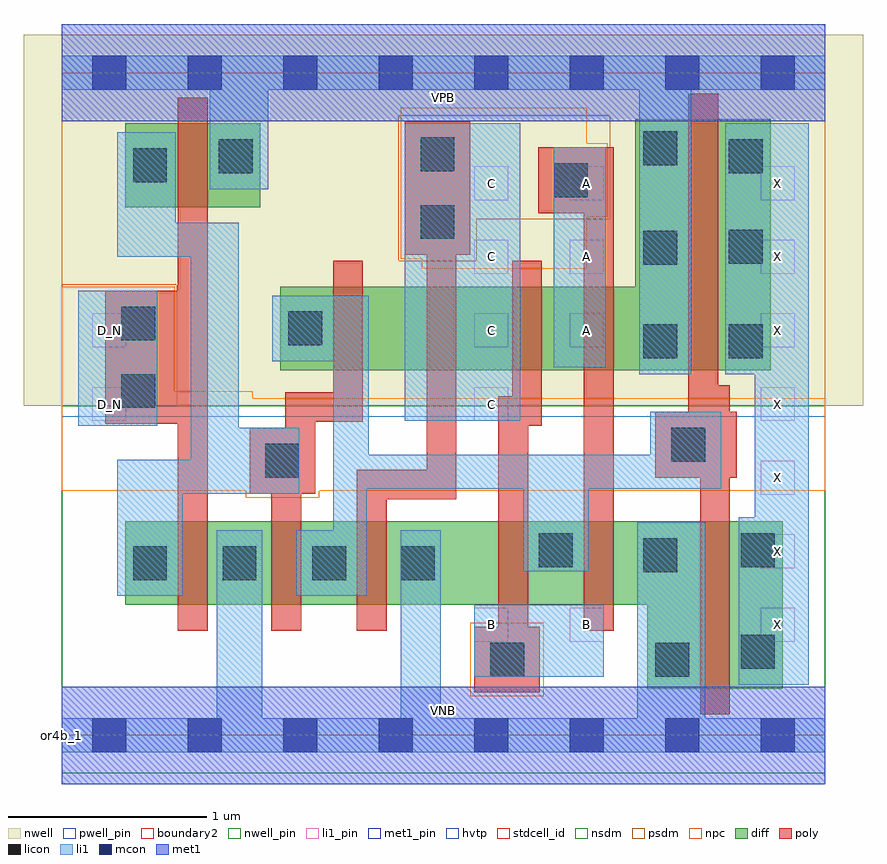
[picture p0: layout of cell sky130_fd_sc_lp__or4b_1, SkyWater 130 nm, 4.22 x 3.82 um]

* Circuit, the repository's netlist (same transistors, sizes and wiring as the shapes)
* Copyright 2020 The SkyWater PDK Authors
*
* Licensed under the Apache License, Version 2.0 (the "License");
* you may not use this file except in compliance with the License.
* You may obtain a copy of the License at
*
*     https://www.apache.org/licenses/LICENSE-2.0
*
* Unless required by applicable law or agreed to in writing, software
* distributed under the License is distributed on an "AS IS" BASIS,
* WITHOUT WARRANTIES OR CONDITIONS OF ANY KIND, either express or implied.
* See the License for the specific language governing permissions and
* limitations under the License.
*
* SPDX-License-Identifier: Apache-2.0

.SUBCKT sky130_fd_sc_lp__or4b_1 A B C D_N VGND VNB VPB VPWR X
*.PININFO A:I B:I C:I D_N:I VGND:I VNB:I VPB:I VPWR:I X:O
MMP0 VPWR A sndPA VPB sky130_fd_pr__pfet_01v8_hvt m=1 w=0.42U l=0.15U mult=1 sa=0.265
+ sb=0.265 sd=0.28 area=0.063 perim=1.14
MMP1 sndPA B sndPB VPB sky130_fd_pr__pfet_01v8_hvt m=1 w=0.42U l=0.15U mult=1 sa=0.265
+ sb=0.265 sd=0.28 area=0.063 perim=1.14
MMP2 sndPB C sndPC VPB sky130_fd_pr__pfet_01v8_hvt m=1 w=0.42U l=0.15U mult=1 sa=0.265
+ sb=0.265 sd=0.28 area=0.063 perim=1.14
MMP3 sndPC D y VPB sky130_fd_pr__pfet_01v8_hvt m=1 w=0.42U l=0.15U mult=1 sa=0.265
+ sb=0.265 sd=0.28 area=0.063 perim=1.14
MMIP3 D D_N VPWR VPB sky130_fd_pr__pfet_01v8_hvt m=1 w=0.42U l=0.15U mult=1 sa=0.265
+ sb=0.265 sd=0.28 area=0.063 perim=1.14
MMIP4 X y VPWR VPB sky130_fd_pr__pfet_01v8_hvt m=1 w=1.26U l=0.15U mult=1 sa=0.265
+ sb=0.265 sd=0.28 area=0.063 perim=1.14
MMN0 y A VGND VNB sky130_fd_pr__nfet_01v8 m=1 w=0.42U l=0.15U mult=1 sa=0.265 sb=0.265
+ sd=0.28 area=0.063 perim=1.14
MMN1 y B VGND VNB sky130_fd_pr__nfet_01v8 m=1 w=0.42U l=0.15U mult=1 sa=0.265 sb=0.265
+ sd=0.28 area=0.063 perim=1.14
MMN2 y C VGND VNB sky130_fd_pr__nfet_01v8 m=1 w=0.42U l=0.15U mult=1 sa=0.265 sb=0.265
+ sd=0.28 area=0.063 perim=1.14
MMN3 y D VGND VNB sky130_fd_pr__nfet_01v8 m=1 w=0.42U l=0.15U mult=1 sa=0.265 sb=0.265
+ sd=0.28 area=0.063 perim=1.14
MMIN3 D D_N VGND VNB sky130_fd_pr__nfet_01v8 m=1 w=0.42U l=0.15U mult=1 sa=0.265
+ sb=0.265 sd=0.28 area=0.063 perim=1.14
MMIN4 X y VGND VNB sky130_fd_pr__nfet_01v8 m=1 w=0.84U l=0.15U mult=1 sa=0.265
+ sb=0.265 sd=0.28 area=0.063 perim=1.14
.ENDS sky130_fd_sc_lp__or4b_1

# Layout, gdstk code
import gdstk
lib = gdstk.Library(unit=1e-6, precision=1e-09)
def R(c, l, rs):  # rectangles x0, y0, x1, y1
    for r in rs: c.add(gdstk.rectangle(r[:2], r[2:], *l))
def A(c, l, x, y, w, h, nx, ny, dx, dy):  # array of equal rectangles
    R(c, l, [(x+i*dx, y+j*dy, x+i*dx+w, y+j*dy+h) for i in range(nx) for j in range(ny)])
def P(c, l, *ps):  # polygons
    for p in ps: c.add(gdstk.Polygon(p, *l))
nwell_pin = (64, 16)
nwell = (64, 20)
diff = (65, 20)
poly = (66, 20)
licon = (66, 44)
li1_pin = (67, 16)
li1 = (67, 20)
mcon = (67, 44)
met1_pin = (68, 16)
met1 = (68, 20)
hvtp = (78, 44)
stdcell_id = (81, 4)
nsdm = (93, 44)
psdm = (94, 20)
npc = (95, 20)
pwell_pin = (122, 16)
boundary2 = (236, 0)

sky130_fd_sc_lp__or4b_1 = lib.new_cell('sky130_fd_sc_lp__or4b_1')
R(sky130_fd_sc_lp__or4b_1, nwell_pin, [(0,3.085,3.84,3.33)])
R(sky130_fd_sc_lp__or4b_1, nwell, [(-0.19,1.655,4.03,3.52)])
R(sky130_fd_sc_lp__or4b_1, diff, [(0.32,2.655,1,3.075)])
P(sky130_fd_sc_lp__or4b_1, diff, [(3.625,1.075),(0.32,1.075),(0.32,0.655),(2.945,0.655),(2.945,0.235),(3.625,0.235)],
  [(3.565,3.095),(2.885,3.095),(2.885,2.255),(1.1,2.255),(1.1,1.835),(3.565,1.835)])
P(sky130_fd_sc_lp__or4b_1, poly, [(0.735,3.205),(0.585,3.205),(0.585,2.235),(0.22,2.235),(0.22,1.565),(0.585,1.565),(0.585,0.525),(0.735,0.525)],
  [(2.055,3.085),(1.725,3.085),(1.725,2.415),(1.835,2.415),(1.835,1.335),(1.485,1.335),(1.485,0.525),(1.635,0.525),(1.635,1.185),(1.985,1.185),(1.985,2.415),(2.055,2.415)],
  [(1.515,2.385),(1.365,2.385),(1.365,1.725),(1.125,1.725),(1.125,1.545),(0.945,1.545),(0.945,1.215),(1.055,1.215),(1.055,0.525),(1.205,0.525),(1.205,1.215),(1.275,1.215),(1.275,1.575),(1.515,1.575)],
  [(3.395,1.625),(3.36,1.625),(3.36,1.76),(3.3,1.76),(3.3,3.225),(3.15,3.225),(3.15,1.625),(2.985,1.625),(2.985,1.295),(3.21,1.295),(3.21,0.105),(3.36,0.105),(3.36,1.295),(3.395,1.295)],
  [(2.775,2.955),(2.395,2.955),(2.395,2.625),(2.625,2.625),(2.625,0.525),(2.775,0.525)],
  [(2.415,2.385),(2.265,2.385),(2.265,1.705),(2.195,1.705),(2.195,0.545),(2.075,0.545),(2.075,0.215),(2.405,0.215),(2.405,0.545),(2.345,0.545),(2.345,1.555),(2.415,1.555)])
A(sky130_fd_sc_lp__or4b_1, licon, 0.36, 0.78, 0.17, 0.17, 3, 1, 0.45, 0)
R(sky130_fd_sc_lp__or4b_1, licon, [(2.155,0.295,2.325,0.465), (2.985,0.295,3.155,0.465), (3.415,0.335,3.585,0.505), (1.705,0.78,1.875,0.95), (2.925,0.82,3.095,0.99), (2.4,0.845,2.57,1.015), (3.415,0.845,3.585,1.015), (1.025,1.295,1.195,1.465), (3.065,1.375,3.235,1.545), (0.3,1.645,0.47,1.815), (2.925,1.895,3.095,2.065), (3.355,1.895,3.525,2.065), (1.14,1.96,1.31,2.13), (0.3,1.985,0.47,2.155), (2.925,2.365,3.095,2.535), (3.355,2.37,3.525,2.54), (1.805,2.495,1.975,2.665), (2.475,2.705,2.645,2.875), (0.36,2.78,0.53,2.95), (0.79,2.825,0.96,2.995), (3.355,2.825,3.525,2.995), (1.805,2.835,1.975,3.005), (2.925,2.865,3.095,3.035)])
A(sky130_fd_sc_lp__or4b_1, li1_pin, 3.515, 0.47, 0.17, 0.17, 1, 7, 0, 0.37)
A(sky130_fd_sc_lp__or4b_1, li1_pin, 2.075, 1.58, 0.17, 0.17, 1, 4, 0, 0.37)
A(sky130_fd_sc_lp__or4b_1, li1_pin, 2.555, 1.95, 0.17, 0.17, 1, 3, 0, 0.37)
R(sky130_fd_sc_lp__or4b_1, li1_pin, [(2.075,0.47,2.245,0.64), (2.555,0.47,2.725,0.64), (0.155,1.58,0.325,1.75), (0.155,1.95,0.325,2.12)])
R(sky130_fd_sc_lp__or4b_1, li1, [(2.075,0.295,2.725,0.655), (0.085,1.555,0.48,2.235), (1.725,1.58,2.305,3.075), (2.475,1.85,2.735,2.955)])
P(sky130_fd_sc_lp__or4b_1, li1, [(3.84,3.415),(0,3.415),(0,3.245),(0.745,3.245),(0.745,2.745),(1.04,2.745),(1.04,3.245),(2.905,3.245),(2.905,1.815),(3.165,1.815),(3.165,3.245),(3.84,3.245)],
  [(3.84,0.085),(3.235,0.085),(3.235,1.07),(2.895,1.07),(2.895,0.085),(1.905,0.085),(1.905,1.03),(1.705,1.03),(1.705,0.085),(1.01,0.085),(1.01,1.03),(0.78,1.03),(0.78,0.085),(0,0.085),(0,-0.085),(3.84,-0.085)],
  [(3.755,3.075),(3.335,3.075),(3.335,1.815),(3.485,1.815),(3.485,1.095),(3.405,1.095),(3.405,0.255),(3.755,0.255)],
  [(3.315,1.625),(2.96,1.625),(2.96,1.41),(1.545,1.41),(1.545,2.21),(1.06,2.21),(1.06,1.88),(1.365,1.88),(1.365,1.03),(1.18,1.03),(1.18,0.7),(1.535,0.7),(1.535,1.24),(2.32,1.24),(2.32,0.825),(2.65,0.825),(2.65,1.24),(3.315,1.24)],
  [(1.195,1.545),(0.89,1.545),(0.89,2.575),(0.575,2.575),(0.575,3.03),(0.28,3.03),(0.28,2.405),(0.65,2.405),(0.65,1.385),(0.28,1.385),(0.28,0.7),(0.61,0.7),(0.61,1.215),(1.195,1.215)])
A(sky130_fd_sc_lp__or4b_1, mcon, 0.155, -0.085, 0.17, 0.17, 8, 2, 0.48, 3.33)
R(sky130_fd_sc_lp__or4b_1, met1_pin, [(0,0,3.84,0.245), (0,3.085,3.84,3.33)])
R(sky130_fd_sc_lp__or4b_1, met1, [(0,-0.245,3.84,0.245), (0,3.085,3.84,3.575)])
R(sky130_fd_sc_lp__or4b_1, hvtp, [(0,1.6,3.84,3.33)])
R(sky130_fd_sc_lp__or4b_1, stdcell_id, [(0,0,3.84,3.33)])
R(sky130_fd_sc_lp__or4b_1, nsdm, [(0,-0.19,3.84,1.655)])
P(sky130_fd_sc_lp__or4b_1, psdm, [(3.84,3.52),(2.755,3.52),(2.755,2.595),(2.085,2.595),(2.085,2.385),(1.695,2.385),(1.695,3.115),(2.755,3.115),(2.755,3.52),(0,3.52),(0,2.265),(0.58,2.265),(0.58,1.655),(3.84,1.655)])
R(sky130_fd_sc_lp__or4b_1, npc, [(2.055,0.195,2.425,0.565)])
P(sky130_fd_sc_lp__or4b_1, npc, [(2.745,2.975),(2.64,2.975),(2.64,3.155),(1.705,3.155),(1.705,2.395),(1.81,2.395),(1.81,2.345),(2.64,2.345),(2.64,2.605),(2.745,2.605)],
  [(3.84,1.695),(0.96,1.695),(0.96,1.73),(0.57,1.73),(0.57,2.255),(0,2.255),(0,1.23),(0.925,1.23),(0.925,1.195),(1.295,1.195),(1.295,1.23),(3.84,1.23)])
R(sky130_fd_sc_lp__or4b_1, pwell_pin, [(0,0,3.84,0.245)])
R(sky130_fd_sc_lp__or4b_1, boundary2, [(0,0,3.84,3.33)])
sky130_fd_sc_lp__or4b_1.add(gdstk.Label('VNB', (1.92,0.123), layer=64, texttype=59))
sky130_fd_sc_lp__or4b_1.add(gdstk.Label('VPB', (1.92,3.208), layer=64, texttype=5))
sky130_fd_sc_lp__or4b_1.add(gdstk.Label('or4b_1', (0,0), layer=83, texttype=44))
sky130_fd_sc_lp__or4b_1.add(gdstk.Label('VPWR', (1.92,3.208), layer=68, texttype=5))
sky130_fd_sc_lp__or4b_1.add(gdstk.Label('VGND', (1.92,0.123), layer=68, texttype=5))
sky130_fd_sc_lp__or4b_1.add(gdstk.Label('C', (2.16,1.665), layer=67, texttype=5))
sky130_fd_sc_lp__or4b_1.add(gdstk.Label('C', (2.16,2.035), layer=67, texttype=5))
sky130_fd_sc_lp__or4b_1.add(gdstk.Label('C', (2.16,2.405), layer=67, texttype=5))
sky130_fd_sc_lp__or4b_1.add(gdstk.Label('C', (2.16,2.775), layer=67, texttype=5))
sky130_fd_sc_lp__or4b_1.add(gdstk.Label('X', (3.6,0.555), layer=67, texttype=5))
sky130_fd_sc_lp__or4b_1.add(gdstk.Label('X', (3.6,0.925), layer=67, texttype=5))
sky130_fd_sc_lp__or4b_1.add(gdstk.Label('X', (3.6,1.295), layer=67, texttype=5))
sky130_fd_sc_lp__or4b_1.add(gdstk.Label('X', (3.6,1.665), layer=67, texttype=5))
sky130_fd_sc_lp__or4b_1.add(gdstk.Label('X', (3.6,2.035), layer=67, texttype=5))
sky130_fd_sc_lp__or4b_1.add(gdstk.Label('X', (3.6,2.405), layer=67, texttype=5))
sky130_fd_sc_lp__or4b_1.add(gdstk.Label('X', (3.6,2.775), layer=67, texttype=5))
sky130_fd_sc_lp__or4b_1.add(gdstk.Label('A', (2.64,2.035), layer=67, texttype=5))
sky130_fd_sc_lp__or4b_1.add(gdstk.Label('A', (2.64,2.405), layer=67, texttype=5))
sky130_fd_sc_lp__or4b_1.add(gdstk.Label('A', (2.64,2.775), layer=67, texttype=5))
sky130_fd_sc_lp__or4b_1.add(gdstk.Label('B', (2.16,0.555), layer=67, texttype=5))
sky130_fd_sc_lp__or4b_1.add(gdstk.Label('B', (2.64,0.555), layer=67, texttype=5))
sky130_fd_sc_lp__or4b_1.add(gdstk.Label('D_N', (0.24,1.665), layer=67, texttype=5))
sky130_fd_sc_lp__or4b_1.add(gdstk.Label('D_N', (0.24,2.035), layer=67, texttype=5))

lib.write_gds('sky130_fd_sc_lp__or4b_1.gds')
